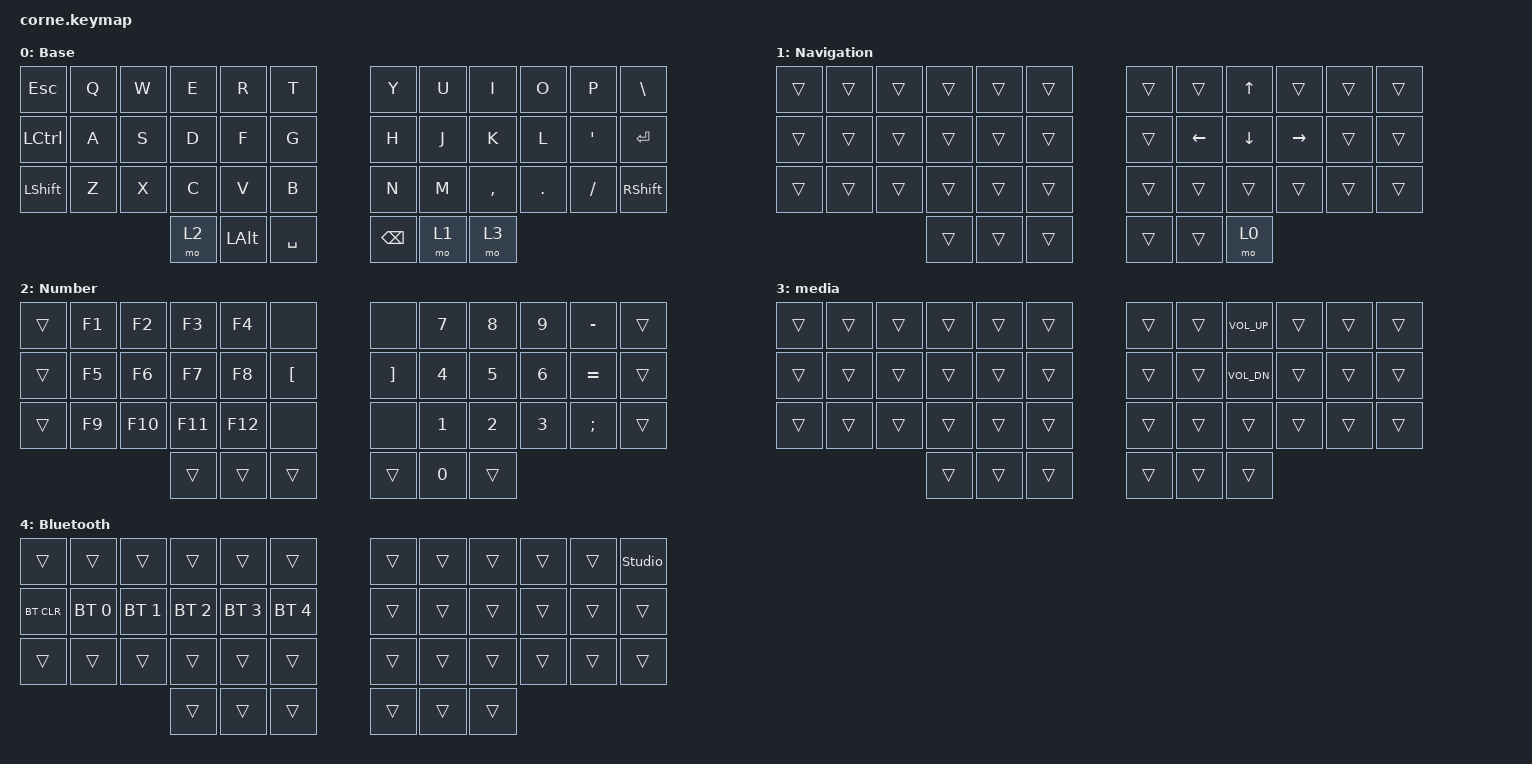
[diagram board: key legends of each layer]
/*
 * Copyright (c) 2020 The ZMK Contributors
 *
 * SPDX-License-Identifier: MIT
 */

#include <behaviors/socd.dtsi>
#include <behaviors.dtsi>
#include <dt-bindings/zmk/bt.h>
#include <dt-bindings/zmk/keys.h>

/ {
    combos {
        compatible = "zmk,combos";

        apostrophe {
            bindings = <&kp SEMICOLON>;
            key-positions = <23 22>;
            layers = <0 1>;
        };

        bluetooth {
            bindings = <&mo 4>;
            key-positions = <36 41>;
        };

        windows {
            bindings = <&kp LEFT_GUI>;
            key-positions = <37 36>;
            layers = <1>;
        };

        caps {
            bindings = <&kp TAB>;
            key-positions = <12 13>;
            layers = <0>;
        };

        grave {
            bindings = <&kp GRAVE>;
            key-positions = <0 1>;
            layers = <0 1>;
        };

        toggle_d {
            bindings = <&hold D>;
            key-positions = <15 39>;
        };
    };

    behaviors {
        hold: hold {
            compatible = "zmk,behavior-sticky-key";
            label = "HOLD";
            bindings = <&kp>;
            #binding-cells = <1>;
            release-after-ms = <60000>;
            quick-release;
        };
    };

    keymap {
        compatible = "zmk,keymap";

        default {
            // -----------------------------------------------------------------------------------------
            // |  TAB |  Q  |  W  |  E  |  R  |  T  |   |  Y  |  U   |  I  |  O  |  P  | BKSP |
            // | CTRL |  A  |  S  |  D  |  F  |  G  |   |  H  |  J   |  K  |  L  |  ;  |  '   |
            // | SHFT |  Z  |  X  |  C  |  V  |  B  |   |  N  |  M   |  ,  |  .  |  /  | ESC  |
            //                    | GUI | LWR | SPC |   | ENT | RSE  | ALT |

            display-name = "Base";
            bindings = <
&kp ESC         &kp Q  &kp W  &kp E  &kp R         &kp T        &kp Y          &kp U  &kp I      &kp O    &kp P     &kp BACKSLASH
&kp LCTRL       &kp A  &kp S  &kp D  &kp F         &kp G        &kp H          &kp J  &kp K      &kp L    &kp SQT   &kp RET
&kp LEFT_SHIFT  &kp Z  &kp X  &kp C  &kp V         &kp B        &kp N          &kp M  &kp COMMA  &kp DOT  &kp FSLH  &kp RSHFT
                              &mo 2  &kp LEFT_ALT  &kp SPACE    &kp BACKSPACE  &mo 1  &mo 3
            >;
        };

        navigation {
            bindings = <
&trans  &trans  &trans  &trans  &trans  &trans    &trans  &trans    &kp UP    &trans     &trans  &trans
&trans  &trans  &trans  &trans  &trans  &trans    &trans  &kp LEFT  &kp DOWN  &kp RIGHT  &trans  &trans
&trans  &trans  &trans  &trans  &trans  &trans    &trans  &trans    &trans    &trans     &trans  &trans
                        &trans  &trans  &trans    &trans  &trans    &mo 0
            >;

            label = "Navigation";
        };

        number {
            display-name = "Number";
            bindings = <
&trans  &kp F1  &kp F2   &kp F3   &kp F4   &none               &none              &kp N7  &kp N8  &kp N9  &kp MINUS      &trans
&trans  &kp F5  &kp F6   &kp F7   &kp F8   &kp LEFT_BRACKET    &kp RIGHT_BRACKET  &kp N4  &kp N5  &kp N6  &kp EQUAL      &trans
&trans  &kp F9  &kp F10  &kp F11  &kp F12  &none               &none              &kp N1  &kp N2  &kp N3  &kp SEMICOLON  &trans
                         &trans   &trans   &trans              &trans             &kp N0  &trans
            >;

            label = "Number";
        };

        media {
            bindings = <
&trans  &trans  &trans  &trans  &trans  &trans    &trans  &trans  &kp C_VOLUME_UP  &trans  &trans  &trans
&trans  &trans  &trans  &trans  &trans  &trans    &trans  &trans  &kp C_VOL_DN     &trans  &trans  &trans
&trans  &trans  &trans  &trans  &trans  &trans    &trans  &trans  &trans           &trans  &trans  &trans
                        &trans  &trans  &trans    &trans  &trans  &trans
            >;
        };

        bluetooth {
            display-name = "Bluetooth";
            bindings = <
&trans      &trans        &trans        &trans        &trans        &trans          &trans  &trans  &trans  &trans  &trans  &studio_unlock
&bt BT_CLR  &bt BT_SEL 0  &bt BT_SEL 1  &bt BT_SEL 2  &bt BT_SEL 3  &bt BT_SEL 4    &trans  &trans  &trans  &trans  &trans  &trans
&trans      &trans        &trans        &trans        &trans        &trans          &trans  &trans  &trans  &trans  &trans  &trans
                                        &trans        &trans        &trans          &trans  &trans  &trans
            >;

            label = "Bluetooth";
        };
    };
};
